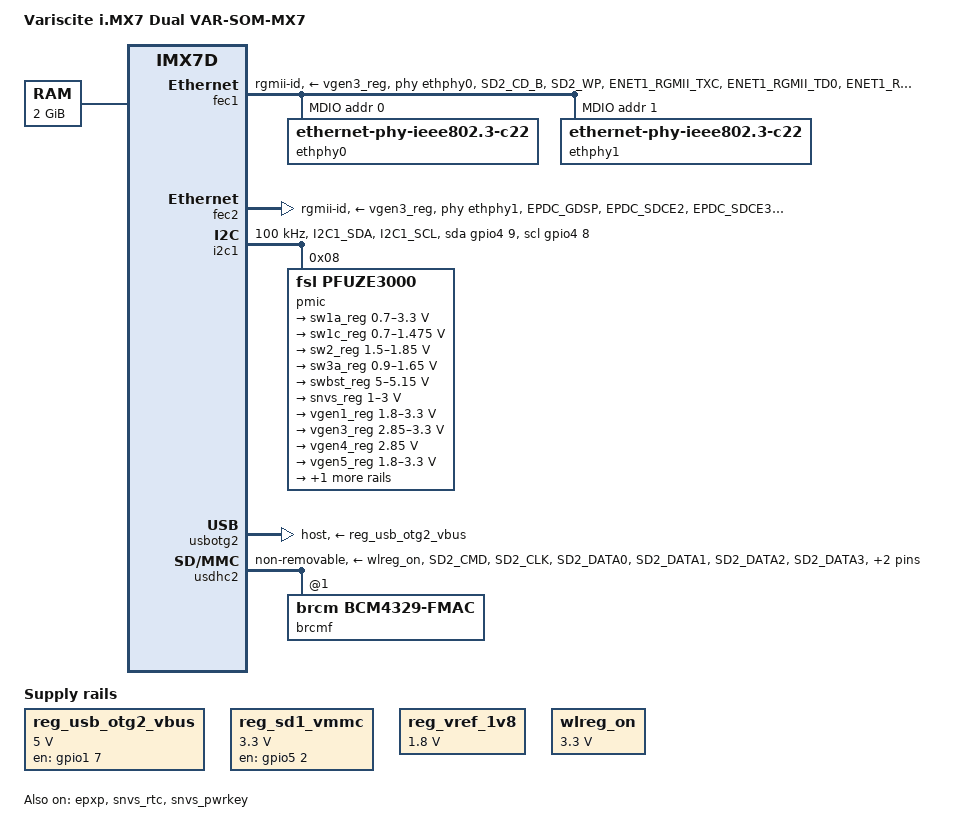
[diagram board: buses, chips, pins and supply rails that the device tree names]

#include <dt-bindings/input/input.h>
#include "imx7d.dtsi"

/ {

	model = "Variscite i.MX7 Dual VAR-SOM-MX7";
	compatible = "variscite,imx7d-var-som", "fsl,imx7d";

	cpus {
		cpu0: cpu@0 {
			operating-points = <
				/* KHz	uV */
				996000	1075000
				792000	975000
			>;
		};
	};

	memory {
		reg = <0x80000000 0x80000000>;
	};

	pxp_v4l2_out {
		compatible = "fsl,imx7d-pxp-v4l2", "fsl,imx6sx-pxp-v4l2", "fsl,imx6sl-pxp-v4l2";
		status = "disabled";
	};

	regulators {
		compatible = "simple-bus";
		#address-cells = <1>;
		#size-cells = <0>;

		reg_usb_otg1_vbus: regulator@0 {
			compatible = "regulator-fixed";
			reg = <0>;
			regulator-name = "usb_otg1_vbus";
			regulator-min-microvolt = <5000000>;
			regulator-max-microvolt = <5000000>;
			gpio = <&gpio1 5 GPIO_ACTIVE_HIGH>;
			enable-active-high;
			status = "disabled";
		};

		reg_usb_otg2_vbus: regulator@1 {
			compatible = "regulator-fixed";
			reg = <1>;
			regulator-name = "usb_otg2_vbus";
			regulator-min-microvolt = <5000000>;
			regulator-max-microvolt = <5000000>;
			gpio = <&gpio1 7 GPIO_ACTIVE_HIGH>;
			enable-active-high;
			status = "okay";
		};

		reg_sd1_vmmc: regulator@3 {
			compatible = "regulator-fixed";
			regulator-name = "VDD_SD1";
			regulator-min-microvolt = <3300000>;
			regulator-max-microvolt = <3300000>;
			gpio = <&gpio5 2 GPIO_ACTIVE_HIGH>;
			startup-delay-us = <200000>;
			enable-active-high;
		};

		reg_vref_1v8: regulator@5 {
			compatible = "regulator-fixed";
			reg = <5>;
			regulator-name = "vref-1v8";
			regulator-min-microvolt = <1800000>;
			regulator-max-microvolt = <1800000>;
		};

		wlreg_on: fixedregulator@100 {
			compatible = "regulator-fixed";
			regulator-min-microvolt = <3300000>;
			regulator-max-microvolt = <3300000>;
			regulator-name = "wlreg_on";
		};

		reg_touch_3v3: reg_touch_3v3 {
			compatible = "regulator-fixed";
			regulator-name = "touch_3v3_supply";
			regulator-always-on;
			status = "disabled";
		};
	};

};

&adc1 {
	vref-supply = <&reg_vref_1v8>;
	status = "disabled";
};

&adc2 {
	vref-supply = <&reg_vref_1v8>;
	status = "disabled";
};

&cpu0 {
	arm-supply = <&sw1a_reg>;
};

&clks {
	assigned-clocks = <&clks IMX7D_PLL_AUDIO_POST_DIV>;
	assigned-clock-rates = <884736000>;
};

&csi1 {
	status = "disabled";
};

&epxp {
	status = "okay";
};

&ecspi1 {
	status = "disabled";
};

&fec1 {
	pinctrl-names = "default","sleep";
	pinctrl-0 = <&pinctrl_enet1>;
	pinctrl-1 = <&pinctrl_enet1_sleep>;
	phy-supply=<&vgen3_reg>;
	assigned-clocks = <&clks IMX7D_ENET_PHY_REF_ROOT_SRC>,
			  <&clks IMX7D_ENET_AXI_ROOT_SRC>,
			  <&clks IMX7D_ENET1_TIME_ROOT_SRC>,
			  <&clks IMX7D_ENET1_TIME_ROOT_CLK>,
			  <&clks IMX7D_ENET_AXI_ROOT_CLK>;
	assigned-clock-parents = <&clks IMX7D_PLL_ENET_MAIN_25M_CLK>,
				 <&clks IMX7D_PLL_ENET_MAIN_250M_CLK>,
				 <&clks IMX7D_PLL_ENET_MAIN_100M_CLK>;
	assigned-clock-rates = <0>, <0>, <0>, <100000000>, <250000000>;
	phy-mode = "rgmii-id";
	phy-handle = <&ethphy0>;
	phy-reset-gpios = <&gpio5 11 GPIO_ACTIVE_LOW>;
	phy-reset-post-delay = <20>;
	phy-reset-on-resume;
	status = "okay";

	mdio {
		#address-cells = <1>;
		#size-cells = <0>;

		ethphy0: ethernet-phy@0 {
			compatible = "ethernet-phy-ieee802.3-c22";
			adi,phy-mode-override = "rgmii-rxid";
			reg = <0>;
		};

		ethphy1: ethernet-phy@1 {
			compatible = "ethernet-phy-ieee802.3-c22";
			adi,phy-mode-override = "rgmii-rxid";
			reg = <1>;
		};
	};
};

&fec2 {
	pinctrl-names = "default","sleep";
	pinctrl-0 = <&pinctrl_enet2>;
	pinctrl-1 = <&pinctrl_enet2_sleep>;
	phy-supply=<&vgen3_reg>;
	assigned-clocks = <&clks IMX7D_ENET_PHY_REF_ROOT_SRC>,
			  <&clks IMX7D_ENET_AXI_ROOT_SRC>,
			  <&clks IMX7D_ENET2_TIME_ROOT_SRC>,
			  <&clks IMX7D_ENET2_TIME_ROOT_CLK>,
			  <&clks IMX7D_ENET_AXI_ROOT_CLK>;
	assigned-clock-parents = <&clks IMX7D_PLL_ENET_MAIN_25M_CLK>,
				 <&clks IMX7D_PLL_ENET_MAIN_250M_CLK>,
				 <&clks IMX7D_PLL_ENET_MAIN_100M_CLK>;
	assigned-clock-rates = <0>, <0>, <0>, <100000000>, <250000000>;
	phy-mode = "rgmii-id";
	phy-handle = <&ethphy1>;
	phy-reset-gpios = <&gpio4 3 GPIO_ACTIVE_LOW>;
	phy-reset-post-delay = <20>;
	phy-reset-on-resume;
	status = "okay";
};

&mipi_csi {
	status = "disabled";
};

&i2c1 {
	clock-frequency = <100000>;
	pinctrl-names = "default", "gpio";
	pinctrl-0 = <&pinctrl_i2c1>;
	pinctrl-1 = <&pinctrl_i2c1_gpio>;
	scl-gpios = <&gpio4 8 GPIO_ACTIVE_HIGH>;
	sda-gpios = <&gpio4 9 GPIO_ACTIVE_HIGH>;
	status = "okay";

	pmic: pfuze3000@8 {
		compatible = "fsl,pfuze3000";
		reg = <0x08>;

		regulators {
			sw1a_reg: sw1a {
				regulator-min-microvolt = <700000>;
				regulator-max-microvolt = <3300000>;
				regulator-boot-on;
				regulator-always-on;
				regulator-ramp-delay = <6250>;
			};

			/* use sw1c_reg to align with pfuze100/pfuze200 */
			sw1c_reg: sw1b {
				regulator-min-microvolt = <700000>;
				regulator-max-microvolt = <1475000>;
				regulator-boot-on;
				regulator-always-on;
				regulator-ramp-delay = <6250>;
			};

			sw2_reg: sw2 {
				regulator-min-microvolt = <1500000>;
				regulator-max-microvolt = <1850000>;
				regulator-boot-on;
				regulator-always-on;
			};

			sw3a_reg: sw3 {
				regulator-min-microvolt = <900000>;
				regulator-max-microvolt = <1650000>;
				regulator-boot-on;
				regulator-always-on;
			};

			swbst_reg: swbst {
				regulator-min-microvolt = <5000000>;
				regulator-max-microvolt = <5150000>;
			};

			snvs_reg: vsnvs {
				regulator-min-microvolt = <1000000>;
				regulator-max-microvolt = <3000000>;
				regulator-boot-on;
				regulator-always-on;
			};

			vref_reg: vrefddr {
				regulator-boot-on;
				regulator-always-on;
			};

			vgen1_reg: vldo1 {
				regulator-min-microvolt = <1800000>;
				regulator-max-microvolt = <3300000>;
				regulator-always-on;
			};

			vgen2_reg: vldo2 {
				status = "disabled";
			};

			vgen3_reg: vccsd {
				regulator-min-microvolt = <2850000>;
				regulator-max-microvolt = <3300000>;
				regulator-boot-on;

				regulator-state-mem {
					regulator-off-in-suspend;
				};
			};

			vgen4_reg: v33 {
				regulator-min-microvolt = <2850000>;
				regulator-max-microvolt = <2850000>;
				regulator-always-on;
			};

			vgen5_reg: vldo3 {
				regulator-min-microvolt = <1800000>;
				regulator-max-microvolt = <3300000>;
				regulator-always-on;
			};

			vgen6_reg: vldo4 {
				regulator-min-microvolt = <1800000>;
				regulator-max-microvolt = <3300000>;
				regulator-always-on;
			};
		};
	};
};

&i2c2 {
	status = "disabled";
};

&gpmi {
	status = "disabled";
};

&iomuxc {
	imx7d-sdb {
		pinctrl_enet1: enet1grp {
			fsl,pins = <
				MX7D_PAD_SD2_CD_B__ENET1_MDIO			0x3
				MX7D_PAD_SD2_WP__ENET1_MDC			0x3
				MX7D_PAD_ENET1_RGMII_TXC__ENET1_RGMII_TXC	0x1
				MX7D_PAD_ENET1_RGMII_TD0__ENET1_RGMII_TD0	0x1
				MX7D_PAD_ENET1_RGMII_TD1__ENET1_RGMII_TD1	0x1
				MX7D_PAD_ENET1_RGMII_TD2__ENET1_RGMII_TD2	0x1
				MX7D_PAD_ENET1_RGMII_TD3__ENET1_RGMII_TD3	0x1
				MX7D_PAD_ENET1_RGMII_TX_CTL__ENET1_RGMII_TX_CTL	0x1
				MX7D_PAD_ENET1_RGMII_RXC__ENET1_RGMII_RXC	0x1
				MX7D_PAD_ENET1_RGMII_RD0__ENET1_RGMII_RD0	0x1
				MX7D_PAD_ENET1_RGMII_RD1__ENET1_RGMII_RD1	0x1
				MX7D_PAD_ENET1_RGMII_RD2__ENET1_RGMII_RD2	0x1
				MX7D_PAD_ENET1_RGMII_RD3__ENET1_RGMII_RD3	0x1
				MX7D_PAD_ENET1_RGMII_RX_CTL__ENET1_RGMII_RX_CTL	0x1
			>;
		};

		pinctrl_enet1_sleep: enet1_sleep_grp {
			fsl,pins = <
				MX7D_PAD_SD2_CD_B__GPIO5_IO9			0x10
				MX7D_PAD_SD2_WP__GPIO5_IO10			0x10
				MX7D_PAD_ENET1_RGMII_TXC__GPIO7_IO11		0x10
				MX7D_PAD_ENET1_RGMII_TD0__GPIO7_IO6		0x10
				MX7D_PAD_ENET1_RGMII_TD1__GPIO7_IO7		0x10
				MX7D_PAD_ENET1_RGMII_TD2__GPIO7_IO8		0x10
				MX7D_PAD_ENET1_RGMII_TD3__GPIO7_IO9		0x10
				MX7D_PAD_ENET1_RGMII_TX_CTL__GPIO7_IO10		0x10
				MX7D_PAD_ENET1_RGMII_RXC__GPIO7_IO5		0x10
				MX7D_PAD_ENET1_RGMII_RD0__GPIO7_IO0		0x10
				MX7D_PAD_ENET1_RGMII_RD1__GPIO7_IO1		0x10
				MX7D_PAD_ENET1_RGMII_RD2__GPIO7_IO2		0x10
				MX7D_PAD_ENET1_RGMII_RD3__GPIO7_IO3		0x10
				MX7D_PAD_ENET1_RGMII_RX_CTL__GPIO7_IO4		0x10
			>;
		};

		pinctrl_enet2: enet2grp {
			fsl,pins = <
				MX7D_PAD_EPDC_GDSP__ENET2_RGMII_TXC		0x1
				MX7D_PAD_EPDC_SDCE2__ENET2_RGMII_TD0		0x1
				MX7D_PAD_EPDC_SDCE3__ENET2_RGMII_TD1		0x1
				MX7D_PAD_EPDC_GDCLK__ENET2_RGMII_TD2		0x1
				MX7D_PAD_EPDC_GDOE__ENET2_RGMII_TD3		0x1
				MX7D_PAD_EPDC_GDRL__ENET2_RGMII_TX_CTL		0x1
				MX7D_PAD_EPDC_SDCE1__ENET2_RGMII_RXC		0x1
				MX7D_PAD_EPDC_SDCLK__ENET2_RGMII_RD0		0x1
				MX7D_PAD_EPDC_SDLE__ENET2_RGMII_RD1		0x1
				MX7D_PAD_EPDC_SDOE__ENET2_RGMII_RD2		0x1
				MX7D_PAD_EPDC_SDSHR__ENET2_RGMII_RD3		0x1
				MX7D_PAD_EPDC_SDCE0__ENET2_RGMII_RX_CTL		0x1
			>;
		};

		pinctrl_enet2_sleep: enet2_sleep_grp {
			fsl,pins = <
				MX7D_PAD_EPDC_GDSP__GPIO2_IO27			0x10
				MX7D_PAD_EPDC_SDCE2__GPIO2_IO22			0x10
				MX7D_PAD_EPDC_SDCE3__GPIO2_IO23			0x10
				MX7D_PAD_EPDC_GDCLK__GPIO2_IO24			0x10
				MX7D_PAD_EPDC_GDOE__GPIO2_IO25			0x10
				MX7D_PAD_EPDC_GDRL__GPIO2_IO26			0x10
				MX7D_PAD_EPDC_SDCE1__GPIO2_IO21			0x10
				MX7D_PAD_EPDC_SDCLK__GPIO2_IO16			0x10
				MX7D_PAD_EPDC_SDLE__GPIO2_IO17			0x10
				MX7D_PAD_EPDC_SDOE__GPIO2_IO18			0x10
				MX7D_PAD_EPDC_SDSHR__GPIO2_IO19			0x10
				MX7D_PAD_EPDC_SDCE0__GPIO2_IO20			0x10
			>;
		};

		pinctrl_sai1_sleep: sai1grp_sleep {
			fsl,pins = <
				MX7D_PAD_ENET1_RX_CLK__GPIO7_IO13	0x10
				MX7D_PAD_ENET1_CRS__GPIO7_IO14		0x10
				MX7D_PAD_ENET1_COL__GPIO7_IO15		0x10
				MX7D_PAD_ENET1_TX_CLK__GPIO7_IO12	0x10
			>;
		};


		pinctrl_i2c1: i2c1grp {
			fsl,pins = <
				MX7D_PAD_I2C1_SDA__I2C1_SDA	0x4000007f
				MX7D_PAD_I2C1_SCL__I2C1_SCL	0x4000007f
			>;
		};

		pinctrl_i2c1_gpio: i2c1gpiogrp {
			fsl,pins = <
				MX7D_PAD_I2C1_SDA__GPIO4_IO9	0x4000007f
				MX7D_PAD_I2C1_SCL__GPIO4_IO8	0x4000007f
			>;
		};

		pinctrl_usdhc2_sleep: usdhc2grp_sleep {
			fsl,pins = <
				MX7D_PAD_SD2_CMD__GPIO5_IO13		0x10
				MX7D_PAD_SD2_CLK__GPIO5_IO12		0x10
				MX7D_PAD_SD2_DATA0__GPIO5_IO14		0x10
				MX7D_PAD_SD2_DATA1__GPIO5_IO15		0x10
				MX7D_PAD_SD2_DATA2__GPIO5_IO16		0x10
				MX7D_PAD_SD2_DATA3__GPIO5_IO17		0x10
			>;
		};

		pinctrl_usdhc2: usdhc2grp {
			fsl,pins = <
				MX7D_PAD_SD2_CMD__SD2_CMD	0x59
				MX7D_PAD_SD2_CLK__SD2_CLK	0x19
				MX7D_PAD_SD2_DATA0__SD2_DATA0	0x59
				MX7D_PAD_SD2_DATA1__SD2_DATA1	0x59
				MX7D_PAD_SD2_DATA2__SD2_DATA2	0x59
				MX7D_PAD_SD2_DATA3__SD2_DATA3	0x59
			>;
		};

		pinctrl_usdhc2_100mhz: usdhc2grp_100mhz {
			fsl,pins = <
				MX7D_PAD_SD2_CMD__SD2_CMD	0x5a
				MX7D_PAD_SD2_CLK__SD2_CLK	0x1a
				MX7D_PAD_SD2_DATA0__SD2_DATA0	0x5a
				MX7D_PAD_SD2_DATA1__SD2_DATA1	0x5a
				MX7D_PAD_SD2_DATA2__SD2_DATA2	0x5a
				MX7D_PAD_SD2_DATA3__SD2_DATA3	0x5a
			>;
		};

		pinctrl_usdhc2_200mhz: usdhc2grp_200mhz {
			fsl,pins = <
				MX7D_PAD_SD2_CMD__SD2_CMD	0x5b
				MX7D_PAD_SD2_CLK__SD2_CLK	0x1b
				MX7D_PAD_SD2_DATA0__SD2_DATA0	0x5b
				MX7D_PAD_SD2_DATA1__SD2_DATA1	0x5b
				MX7D_PAD_SD2_DATA2__SD2_DATA2	0x5b
				MX7D_PAD_SD2_DATA3__SD2_DATA3	0x5b
			>;
		};

	};
};

&sdma {
	status = "okay";
};

&iomuxc_lpsr {
	pinctrl-names = "default";
	pinctrl-0 = <&pinctrl_hog_2 &pinctrl_usbotg2_pwr_2>;

	imx7d-sdb {
		pinctrl_hog_2: hoggrp-2 {
			fsl,pins = <
				MX7D_PAD_LPSR_GPIO1_IO05__GPIO1_IO5		0x14
			>;
		};

		pinctrl_usbotg2_pwr_2: usbotg2-2 {
			fsl,pins = <
				   MX7D_PAD_LPSR_GPIO1_IO07__GPIO1_IO7		0x14
			>;
		};

		pinctrl_wdog: wdoggrp {
			fsl,pins = <
				MX7D_PAD_LPSR_GPIO1_IO00__WDOG1_WDOG_B		0x74
			>;
		};

		pinctrl_sai1_mclk: sai1grp_mclk {
			fsl,pins = <
				MX7D_PAD_LPSR_GPIO1_IO01__SAI1_MCLK		0x1f
			>;
		};

		pinctrl_sai1_mclk_sleep: sai1grp_mclk_sleep {
			fsl,pins = <
				MX7D_PAD_LPSR_GPIO1_IO01__GPIO1_IO1		0x10
			>;
		};

		pinctrl_wlan: wlangrp {
			fsl,pins = <
				MX7D_PAD_LPSR_GPIO1_IO04__GPIO1_IO4		0x09 /* WL_REG_ON */
				MX7D_PAD_LPSR_GPIO1_IO03__OSC32K_32K_OUT	0xb0 /* WIFI Slow clock */
			>;
		};

		pinctrl_wlan_sleep: wlangrp_sleep {
			fsl,pins = <
				MX7D_PAD_LPSR_GPIO1_IO04__GPIO1_IO4		0x10 /* WL_REG_ON */
				MX7D_PAD_LPSR_GPIO1_IO03__OSC32K_32K_OUT	0x10 /* WIFI Slow clock */
			>;
		};

	};
};


&usbotg1 {
	status = "disabled";
};

&usbotg2 {
	vbus-supply = <&reg_usb_otg2_vbus>;
	dr_mode = "host";
	status = "okay";
};

&usdhc2 {
       #address-cells = <1>;
       #size-cells = <0>;
       pinctrl-names = "default", "state_100mhz", "state_200mhz","sleep";
       pinctrl-0 = <&pinctrl_usdhc2>, <&pinctrl_wlan>;
       pinctrl-1 = <&pinctrl_usdhc2_100mhz>, <&pinctrl_wlan>;
       pinctrl-2 = <&pinctrl_usdhc2_200mhz>, <&pinctrl_wlan>;
       pinctrl-3 = <&pinctrl_usdhc2_sleep>, <&pinctrl_wlan_sleep>;
       keep-power-in-suspend;
       non-removable;
       pm-ignore-notify;
       vmmc-supply = <&wlreg_on>;
       status = "okay";

       brcmf: bcrmf@1 {
               reg = <1>;
               compatible = "brcm,bcm4329-fmac";
       };
};

&usdhc3 {
	status = "disabled";
};

&wdog1 {
	pinctrl-names = "default";
	pinctrl-0 = <&pinctrl_wdog>;
	fsl,ext-reset-output;
};

&snvs_rtc {
	status = "okay";
};

&snvs_pwrkey {
	status = "okay";
};

&snvs_poweroff {
	status = "okay";
};
